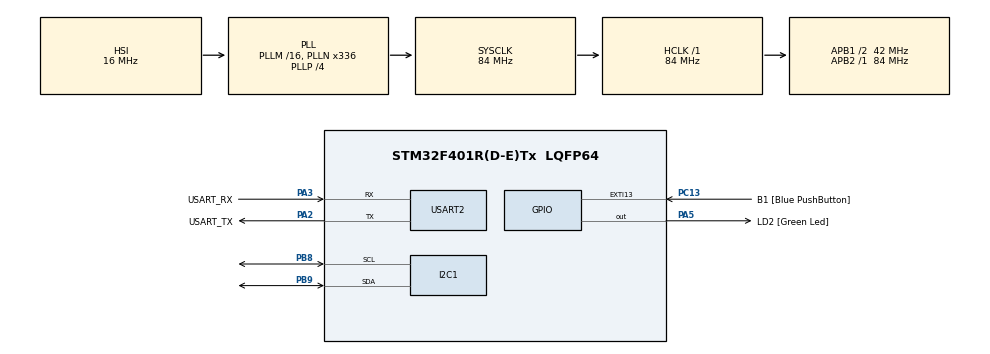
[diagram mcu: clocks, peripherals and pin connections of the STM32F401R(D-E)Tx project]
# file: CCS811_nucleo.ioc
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Mcu.Family=STM32F4
Mcu.Name=STM32F401R(D-E)Tx
Mcu.Package=LQFP64
NVIC.PriorityGroup=NVIC_PRIORITYGROUP_0
PA13.GPIO_Label=TMS
PA13.Mode=Serial_Wire
PA13.Signal=SYS_JTMS-SWDIO
PA14.GPIO_Label=TCK
PA14.Mode=Serial_Wire
PA14.Signal=SYS_JTCK-SWCLK
PA2.GPIO_Label=USART_TX
PA2.GPIO_Mode=GPIO_MODE_AF_PP
PA2.GPIO_PuPd=GPIO_NOPULL
PA2.GPIO_Speed=GPIO_SPEED_FREQ_LOW
PA2.Mode=Asynchronous
PA2.Signal=USART2_TX
PA3.GPIO_Label=USART_RX
PA3.GPIO_Mode=GPIO_MODE_AF_PP
PA3.GPIO_PuPd=GPIO_NOPULL
PA3.GPIO_Speed=GPIO_SPEED_FREQ_LOW
PA3.Mode=Asynchronous
PA3.Signal=USART2_RX
PA5.GPIO_Label=LD2 [Green Led]
PA5.GPIO_Mode=GPIO_MODE_OUTPUT_PP
PA5.GPIO_PuPd=GPIO_NOPULL
PA5.GPIO_Speed=GPIO_SPEED_FREQ_LOW
PA5.Signal=GPIO_Output
PB3.GPIO_Label=SWO
PB3.Signal=SYS_JTDO-SWO
PB8.Mode=I2C
PB8.Signal=I2C1_SCL
PB9.Mode=I2C
PB9.Signal=I2C1_SDA
PC13-ANTI_TAMP.GPIO_Label=B1 [Blue PushButton]
PC13-ANTI_TAMP.GPIO_ModeDefaultEXTI=GPIO_MODE_IT_FALLING
PC13-ANTI_TAMP.GPIO_PuPd=GPIO_NOPULL
PC13-ANTI_TAMP.Signal=GPXTI13
PC14-OSC32_IN.Mode=LSE-External-Oscillator
PC14-OSC32_IN.Signal=RCC_OSC32_IN
PC15-OSC32_OUT.Mode=LSE-External-Oscillator
PC15-OSC32_OUT.Signal=RCC_OSC32_OUT
PH0\ -\ OSC_IN.Mode=HSE-External-Clock-Source
PH0\ -\ OSC_IN.Signal=RCC_OSC_IN
PH1\ -\ OSC_OUT.Mode=HSE-External-Clock-Source
PH1\ -\ OSC_OUT.Signal=RCC_OSC_OUT
ProjectManager.HeapSize=0x200
ProjectManager.StackSize=0x400
ProjectManager.TargetToolchain=STM32CubeIDE
RCC.48MHZClocksFreq_Value=48000000
RCC.AHBFreq_Value=84000000
RCC.APB1CLKDivider=RCC_HCLK_DIV2
RCC.APB1Freq_Value=42000000
RCC.APB1TimFreq_Value=84000000
RCC.APB2Freq_Value=84000000
RCC.APB2TimFreq_Value=84000000
RCC.CortexFreq_Value=84000000
RCC.HCLKFreq_Value=84000000
RCC.HSE_VALUE=8000000
RCC.HSI_VALUE=16000000
RCC.PLLN=336
RCC.PLLP=RCC_PLLP_DIV4
RCC.PLLQ=7
RCC.SYSCLKFreq_VALUE=84000000
RCC.SYSCLKSource=RCC_SYSCLKSOURCE_PLLCLK
RCC.VCOOutputFreq_Value=336000000
USART2.VirtualMode=VM_ASYNC
board=NUCLEO-F401RE

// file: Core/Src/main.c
/* USER CODE BEGIN Header */
/**
  ******************************************************************************
  * @file           : main.c
  * @brief          : Main program body
  ******************************************************************************
  * @attention
  *
  * Copyright (c) 2022 STMicroelectronics.
  * All rights reserved.
  *
  * This software is licensed under terms that can be found in the LICENSE file
  * in the root directory of this software component.
  * If no LICENSE file comes with this software, it is provided AS-IS.
  *
  ******************************************************************************
  */
/* USER CODE END Header */
#include "main.h"

I2C_HandleTypeDef hi2c1;

UART_HandleTypeDef huart2;

void SystemClock_Config(void);
static void MX_GPIO_Init(void);
static void MX_USART2_UART_Init(void);
static void MX_I2C1_Init(void);

int main(void)
{

  /* MCU Configuration--------------------------------------------------------*/

  /* Reset of all peripherals, Initializes the Flash interface and the Systick. */
  HAL_Init();

  /* Configure the system clock */
  SystemClock_Config();

  /* Initialize all configured peripherals */
  MX_GPIO_Init();
  MX_USART2_UART_Init();
  MX_I2C1_Init();
  /* USER CODE BEGIN 2 */
  uint8_t msg[256];
  uint8_t buf_rx[8];
  uint8_t buf_tx[8];
  uint16_t CO2PPM;
  uint16_t TVOCPPB;
  uint16_t Tmp16uint;
  float Tmp;
  float Hum;

  //CCS811 Connection Check
  buf_tx[0] = HW_ID;
  HAL_I2C_Master_Transmit(&hi2c1, CCS811_Address, buf_tx, 1, 1000);
  HAL_I2C_Master_Receive(&hi2c1, CCS811_Address, buf_rx, 1, 1000);
  uint8_t CCS811_hwid = buf_rx[0];

  if(CCS811_hwid != 0x81){
	  Error_Handler();
  }

  //Status Check
  buf_tx[0] = STATUS;
  HAL_I2C_Master_Transmit(&hi2c1, CCS811_Address, buf_tx, 1, 1000);
  HAL_I2C_Master_Receive(&hi2c1, CCS811_Address, buf_rx, 1, 1000);
  uint8_t CCS811_Status = buf_rx[0];

  //CCS811 Application Validity Check
  if((CCS811_Status & 0b00010000)>>4 != 0x01){
	  Error_Handler();
  }

  //Start Application
  buf_tx[0] = APP_START;
  HAL_I2C_Master_Transmit(&hi2c1, CCS811_Address, buf_tx, 1, 1000);

  //Status Check
  buf_tx[0] = STATUS;
  HAL_I2C_Master_Transmit(&hi2c1, CCS811_Address, buf_tx, 1, 1000);
  HAL_I2C_Master_Receive(&hi2c1, CCS811_Address, buf_rx, 1, 1000);
  CCS811_Status = buf_rx[0];

  //CCS811 Application Running Check
  if((CCS811_Status & 0b10000000)>>7 != 0x01){
	  Error_Handler();
  }

  //Measurement Mode setting
  buf_tx[0] = MEAS_MODE;
  buf_tx[1] = buf_rx[0];
  buf_tx[1] = (buf_tx[1] & ~0b11110000) | (0b00010000);
  HAL_I2C_Master_Transmit(&hi2c1, CCS811_Address, buf_tx, 2, 1000);
  HAL_I2C_Master_Receive(&hi2c1, CCS811_Address, buf_rx, 1, 1000);
  //uint8_t DRIVE_MODE = (0b01110000 & buf_rx[0])>>3;

  HAL_Delay(5000); //500ms Wait

  /* USER CODE END 2 */

  /* Infinite loop */
  while (1)
  {

    /* USER CODE BEGIN 3 */
	HAL_GPIO_WritePin(LD2_GPIO_Port,LD2_Pin,GPIO_PIN_SET); //LED On
	HAL_Delay(500); //500ms Wait
	HAL_GPIO_WritePin(LD2_GPIO_Port,LD2_Pin,GPIO_PIN_RESET); //LED OFF
	HAL_Delay(500); //500ms Wait

	//Read CO2 and TVOC DATA
	HAL_I2C_Mem_Read(&hi2c1, CCS811_Address, ALG_RESULT_DATA, 1, buf_rx, 8, 1000);
	CO2PPM = (buf_rx[0]<<8)+(buf_rx[1]);
	TVOCPPB = (buf_rx[2]<<8)+(buf_rx[3]);

	//UART output
	sprintf(msg, "CO2: %d ppm\n\r\0", CO2PPM);
	HAL_UART_Transmit(&huart2, msg, strlen((char*)msg), 100);
	sprintf(msg, "TVOC: %d ppb\n\r\0", TVOCPPB);
	HAL_UART_Transmit(&huart2, msg, strlen((char*)msg), 100);

  }
  /* USER CODE END 3 */
}

void SystemClock_Config(void)
{
  RCC_OscInitTypeDef RCC_OscInitStruct = {0};
  RCC_ClkInitTypeDef RCC_ClkInitStruct = {0};

  /** Configure the main internal regulator output voltage
  */
  __HAL_RCC_PWR_CLK_ENABLE();
  __HAL_PWR_VOLTAGESCALING_CONFIG(PWR_REGULATOR_VOLTAGE_SCALE2);
  /** Initializes the RCC Oscillators according to the specified parameters
  * in the RCC_OscInitTypeDef structure.
  */
  RCC_OscInitStruct.OscillatorType = RCC_OSCILLATORTYPE_HSI;
  RCC_OscInitStruct.HSIState = RCC_HSI_ON;
  RCC_OscInitStruct.HSICalibrationValue = RCC_HSICALIBRATION_DEFAULT;
  RCC_OscInitStruct.PLL.PLLState = RCC_PLL_ON;
  RCC_OscInitStruct.PLL.PLLSource = RCC_PLLSOURCE_HSI;
  RCC_OscInitStruct.PLL.PLLM = 16;
  RCC_OscInitStruct.PLL.PLLN = 336;
  RCC_OscInitStruct.PLL.PLLP = RCC_PLLP_DIV4;
  RCC_OscInitStruct.PLL.PLLQ = 7;
  if (HAL_RCC_OscConfig(&RCC_OscInitStruct) != HAL_OK)
  {
    Error_Handler();
  }
  /** Initializes the CPU, AHB and APB buses clocks
  */
  RCC_ClkInitStruct.ClockType = RCC_CLOCKTYPE_HCLK|RCC_CLOCKTYPE_SYSCLK
                              |RCC_CLOCKTYPE_PCLK1|RCC_CLOCKTYPE_PCLK2;
  RCC_ClkInitStruct.SYSCLKSource = RCC_SYSCLKSOURCE_PLLCLK;
  RCC_ClkInitStruct.AHBCLKDivider = RCC_SYSCLK_DIV1;
  RCC_ClkInitStruct.APB1CLKDivider = RCC_HCLK_DIV2;
  RCC_ClkInitStruct.APB2CLKDivider = RCC_HCLK_DIV1;

  if (HAL_RCC_ClockConfig(&RCC_ClkInitStruct, FLASH_LATENCY_2) != HAL_OK)
  {
    Error_Handler();
  }
}

static void MX_I2C1_Init(void)
{

  hi2c1.Instance = I2C1;
  hi2c1.Init.ClockSpeed = 100000;
  hi2c1.Init.DutyCycle = I2C_DUTYCYCLE_2;
  hi2c1.Init.OwnAddress1 = 0;
  hi2c1.Init.AddressingMode = I2C_ADDRESSINGMODE_7BIT;
  hi2c1.Init.DualAddressMode = I2C_DUALADDRESS_DISABLE;
  hi2c1.Init.OwnAddress2 = 0;
  hi2c1.Init.GeneralCallMode = I2C_GENERALCALL_DISABLE;
  hi2c1.Init.NoStretchMode = I2C_NOSTRETCH_DISABLE;
  if (HAL_I2C_Init(&hi2c1) != HAL_OK)
  {
    Error_Handler();
  }

}

static void MX_USART2_UART_Init(void)
{

  huart2.Instance = USART2;
  huart2.Init.BaudRate = 115200;
  huart2.Init.WordLength = UART_WORDLENGTH_8B;
  huart2.Init.StopBits = UART_STOPBITS_1;
  huart2.Init.Parity = UART_PARITY_NONE;
  huart2.Init.Mode = UART_MODE_TX_RX;
  huart2.Init.HwFlowCtl = UART_HWCONTROL_NONE;
  huart2.Init.OverSampling = UART_OVERSAMPLING_16;
  if (HAL_UART_Init(&huart2) != HAL_OK)
  {
    Error_Handler();
  }

}

static void MX_GPIO_Init(void)
{
  GPIO_InitTypeDef GPIO_InitStruct = {0};

  /* GPIO Ports Clock Enable */
  __HAL_RCC_GPIOC_CLK_ENABLE();
  __HAL_RCC_GPIOH_CLK_ENABLE();
  __HAL_RCC_GPIOA_CLK_ENABLE();
  __HAL_RCC_GPIOB_CLK_ENABLE();

  /*Configure GPIO pin Output Level */
  HAL_GPIO_WritePin(LD2_GPIO_Port, LD2_Pin, GPIO_PIN_RESET);

  /*Configure GPIO pin : B1_Pin */
  GPIO_InitStruct.Pin = B1_Pin;
  GPIO_InitStruct.Mode = GPIO_MODE_IT_FALLING;
  GPIO_InitStruct.Pull = GPIO_NOPULL;
  HAL_GPIO_Init(B1_GPIO_Port, &GPIO_InitStruct);

  /*Configure GPIO pin : LD2_Pin */
  GPIO_InitStruct.Pin = LD2_Pin;
  GPIO_InitStruct.Mode = GPIO_MODE_OUTPUT_PP;
  GPIO_InitStruct.Pull = GPIO_NOPULL;
  GPIO_InitStruct.Speed = GPIO_SPEED_FREQ_LOW;
  HAL_GPIO_Init(LD2_GPIO_Port, &GPIO_InitStruct);

}

void Error_Handler(void)
{
  __disable_irq();
  while (1)
  {
  }
}
